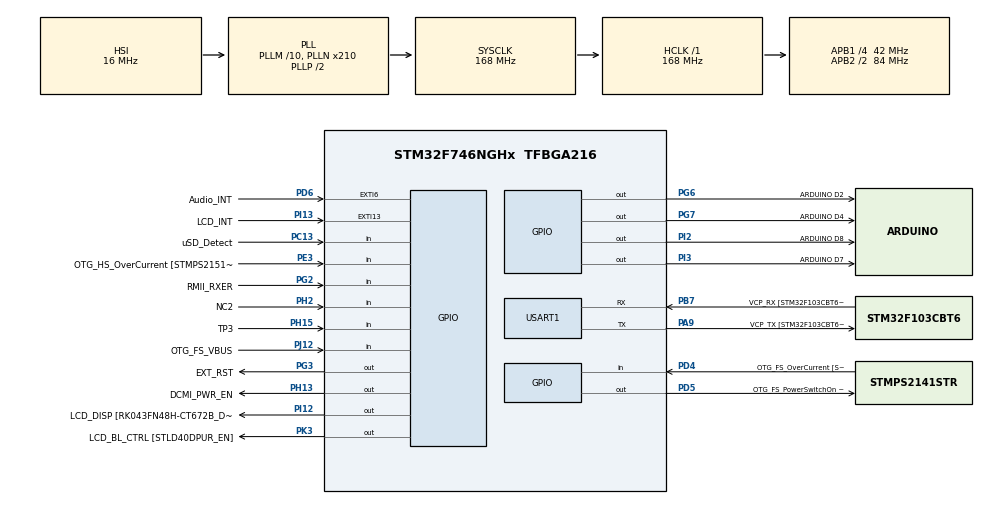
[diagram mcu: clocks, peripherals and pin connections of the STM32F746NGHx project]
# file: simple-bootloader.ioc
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Mcu.Family=STM32F7
Mcu.Name=STM32F746NGHx
Mcu.Package=TFBGA216
NVIC.PriorityGroup=NVIC_PRIORITYGROUP_4
PA0/WKUP.GPIO_Label=ARDUINO A0
PA0/WKUP.GPIO_Mode=GPIO_MODE_ANALOG
PA0/WKUP.GPIO_PuPd=GPIO_NOPULL
PA0/WKUP.Signal=ADCx_IN0
PA1.GPIO_Label=RMII_REF_CLK [LAN8742A-CZ-TR_REFCLK0]
PA1.Signal=ETH_REF_CLK
PA10.GPIO_Label=OTG_FS_ID
PA10.Signal=USB_OTG_FS_ID
PA11.GPIO_Label=OTG_FS_N
PA11.Signal=USB_OTG_FS_DM
PA12.GPIO_Label=OTG_FS_P
PA12.Signal=USB_OTG_FS_DP
PA13.GPIO_Label=SWDIO
PA13.Signal=SYS_JTMS-SWDIO
PA14.GPIO_Label=SWCLK
PA14.Signal=SYS_JTCK-SWCLK
PA15.GPIO_Label=ARDUINO PWM/D9
PA15.GPIO_ModeDefaultPP=GPIO_MODE_AF_PP
PA15.GPIO_PuPd=GPIO_NOPULL
PA15.GPIO_Speed=GPIO_SPEED_FREQ_LOW
PA15.Signal=S_TIM2_CH1_ETR
PA2.GPIO_Label=RMII_MDIO [LAN8742A-CZ-TR_MDIO]
PA2.Signal=ETH_MDIO
PA3.GPIO_Label=ULPI_D0 [USB3320C-EZK_D0]
PA3.Signal=USB_OTG_HS_ULPI_D0
PA4.GPIO_Label=DCMI_HSYNC
PA4.Signal=DCMI_HSYNC
PA5.GPIO_Label=ULPI_CLK [USB3320C-EZK_CLKOUT]
PA5.Signal=USB_OTG_HS_ULPI_CK
PA6.Signal=DCMI_PIXCLK
PA7.GPIO_Label=RMII_CRS_DV [LAN8742A-CZ-TR_CRS_DV]
PA7.Signal=ETH_CRS_DV
PA8.GPIO_Label=ARDUINO PWM/D10
PA8.GPIO_ModeDefaultPP=GPIO_MODE_AF_PP
PA8.GPIO_PuPd=GPIO_NOPULL
PA8.GPIO_Speed=GPIO_SPEED_FREQ_LOW
PA8.Signal=S_TIM1_CH1
PA9.GPIO_Label=VCP_TX [STM32F103CBT6_PA3]
PA9.GPIO_Mode=GPIO_MODE_AF_PP
PA9.GPIO_PuPd=GPIO_NOPULL
PA9.GPIO_Speed=GPIO_SPEED_FREQ_LOW
PA9.Mode=Asynchronous
PA9.Signal=USART1_TX
PB0.GPIO_Label=ULPI_D1 [USB3320C-EZK_D1]
PB0.Signal=USB_OTG_HS_ULPI_D1
PB1.GPIO_Label=ULPI_D2 [USB3320C-EZK_D2]
PB1.Signal=USB_OTG_HS_ULPI_D2
PB10.GPIO_Label=ULPI_D3 [USB3320C-EZK_D3]
PB10.Signal=USB_OTG_HS_ULPI_D3
PB11.GPIO_Label=ULPI_D4 [USB3320C-EZK_D4]
PB11.Signal=USB_OTG_HS_ULPI_D4
PB12.GPIO_Label=ULPI_D5 [USB3320C-EZK_D5]
PB12.Signal=USB_OTG_HS_ULPI_D5
PB13.GPIO_Label=ULPI_D6 [USB3320C-EZK_D6]
PB13.Signal=USB_OTG_HS_ULPI_D6
PB14.GPIO_Label=ARDUINO MISO/D12
PB14.GPIO_Mode=GPIO_MODE_AF_PP
PB14.GPIO_PuPd=GPIO_NOPULL
PB14.GPIO_Speed=GPIO_SPEED_FREQ_LOW
PB14.Signal=SPI2_MISO
PB15.GPIO_Label=ARDUINO MOSI/PWM/D11
PB15.GPIO_Mode=GPIO_MODE_AF_PP
PB15.GPIO_PuPd=GPIO_NOPULL
PB15.GPIO_Speed=GPIO_SPEED_FREQ_LOW
PB15.Signal=SPI2_MOSI
PB2.Signal=QUADSPI_CLK
PB3.GPIO_Label=SWO
PB3.Signal=SYS_JTDO-SWO
PB4.GPIO_Label=ARDUINO PWM/D3
PB4.GPIO_ModeDefaultPP=GPIO_MODE_AF_PP
PB4.GPIO_PuPd=GPIO_NOPULL
PB4.GPIO_Speed=GPIO_SPEED_FREQ_LOW
PB4.Signal=S_TIM3_CH1
PB5.GPIO_Label=ULPI_D7 [USB3320C-EZK_D7]
PB5.Signal=USB_OTG_HS_ULPI_D7
PB6.GPIO_Label=QSPI_NCS [N25Q128A13EF840E_S]
PB6.Signal=QUADSPI_BK1_NCS
PB7.GPIO_Label=VCP_RX [STM32F103CBT6_PA2]
PB7.GPIO_Mode=GPIO_MODE_AF_PP
PB7.GPIO_PuPd=GPIO_NOPULL
PB7.GPIO_Speed=GPIO_SPEED_FREQ_LOW
PB7.Mode=Asynchronous
PB7.Signal=USART1_RX
PB8.GPIO_Label=ARDUINO SCL/D15
PB8.GPIO_Mode=GPIO_MODE_AF_OD
PB8.GPIO_PuPd=GPIO_NOPULL
PB8.GPIO_Speed=GPIO_SPEED_FREQ_LOW
PB8.Signal=I2C1_SCL
PB9.GPIO_Label=ARDUINO SDA/D14
PB9.GPIO_Mode=GPIO_MODE_AF_OD
PB9.GPIO_PuPd=GPIO_NOPULL
PB9.GPIO_Speed=GPIO_SPEED_FREQ_LOW
PB9.Signal=I2C1_SDA
PC0.GPIO_Label=ULPI_STP [USB3320C-EZK_STP]
PC0.Signal=USB_OTG_HS_ULPI_STP
PC1.GPIO_Label=RMII_MDC [LAN8742A-CZ-TR_MDC]
PC1.Signal=ETH_MDC
PC10.GPIO_Label=SDMMC_D2
PC10.Signal=SDMMC1_D2
PC11.GPIO_Label=SDMMC_D3
PC11.Signal=SDMMC1_D3
PC12.GPIO_Label=SDMMC_CK
PC12.Signal=SDMMC1_CK
PC13.GPIO_Label=uSD_Detect
PC13.Signal=GPIO_Input
PC14/OSC32_IN.GPIO_Label=RCC_OSC32_IN
PC14/OSC32_IN.Signal=RCC_OSC32_IN
PC15/OSC32_OUT.GPIO_Label=RCC_OSC32_OUT
PC15/OSC32_OUT.Signal=RCC_OSC32_OUT
PC2.GPIO_Label=ULPI_DIR [USB3320C-EZK_DIR]
PC2.Signal=USB_OTG_HS_ULPI_DIR
PC3.GPIO_Label=FMC_SDCKE0 [MT48LC4M32B2B5-6A_CKE]
PC3.Signal=FMC_SDCKE0
PC4.GPIO_Label=RMII_RXD0 [LAN8742A-CZ-TR_RXD0]
PC4.Signal=ETH_RXD0
PC5.GPIO_Label=RMII_RXD1 [LAN8742A-CZ-TR_RXD1]
PC5.Signal=ETH_RXD1
PC6.GPIO_Label=ARDUINO TX/D1
PC6.Signal=USART6_TX
PC7.GPIO_Label=ARDUINO RX/D0
PC7.Signal=USART6_RX
PC8.Signal=SDMMC1_D0
PC9.Signal=SDMMC1_D1
PD0.GPIO_Label=FMC_D2 [MT48LC4M32B2B5-6A_DQ2]
PD0.Signal=FMC_D2_DA2
PD1.GPIO_Label=FMC_D3 [MT48LC4M32B2B5-6A_DQ3]
PD1.Signal=FMC_D3_DA3
PD10.GPIO_Label=FMC_D15 [MT48LC4M32B2B5-6A_DQ15]
PD10.Signal=FMC_D15_DA15
PD11.GPIO_Label=QSPI_D0 [N25Q128A13EF840E_DQ0]
PD11.Signal=QUADSPI_BK1_IO0
PD12.GPIO_Label=QSPI_D1 [N25Q128A13EF840E_DQ1]
PD12.Signal=QUADSPI_BK1_IO1
PD13.GPIO_Label=QSPI_D3 [N25Q128A13EF840E_DQ3]
PD13.Signal=QUADSPI_BK1_IO3
PD14.GPIO_Label=FMC_D0 [MT48LC4M32B2B5-6A_DQ0]
PD14.Signal=FMC_D0_DA0
PD15.GPIO_Label=FMC_D1 [MT48LC4M32B2B5-6A_DQ1]
PD15.Signal=FMC_D1_DA1
PD2.GPIO_Label=SDMMC_D0
PD2.Signal=SDMMC1_CMD
PD3.GPIO_Label=DCMI_D5
PD3.Signal=DCMI_D5
PD4.GPIO_Label=OTG_FS_OverCurrent [STMPS2141STR_Fault]
PD4.Signal=GPIO_Input
PD5.GPIO_Label=OTG_FS_PowerSwitchOn [STMPS2141STR_EN]
PD5.PinState=GPIO_PIN_SET
PD5.Signal=GPIO_Output
PD6.GPIO_Label=Audio_INT
PD6.GPIO_ModeDefaultEXTI=GPIO_MODE_EVT_RISING
PD6.Signal=GPXTI6
PD7.GPIO_Label=SPDIF_RX0 [74LVC1G04SE_4]
PD7.Signal=SPDIFRX_IN0
PD8.GPIO_Label=FMC_D13 [MT48LC4M32B2B5-6A_DQ13]
PD8.Signal=FMC_D13_DA13
PD9.GPIO_Label=FMC_D14 [MT48LC4M32B2B5-6A_DQ14]
PD9.Signal=FMC_D14_DA14
PE0.GPIO_Label=FMC_NBL0 [MT48LC4M32B2B5-6A_DQM0]
PE0.Signal=FMC_NBL0
PE1.GPIO_Label=FMC_NBL1 [MT48LC4M32B2B5-6A_DQM1]
PE1.Signal=FMC_NBL1
PE10.GPIO_Label=FMC_D7 [MT48LC4M32B2B5-6A_DQ7]
PE10.Signal=FMC_D7_DA7
PE11.GPIO_Label=FMC_D8 [MT48LC4M32B2B5-6A_DQ8]
PE11.Signal=FMC_D8_DA8
PE12.GPIO_Label=FMC_D9 [MT48LC4M32B2B5-6A_DQ9]
PE12.Signal=FMC_D9_DA9
PE13.GPIO_Label=FMC_D10 [MT48LC4M32B2B5-6A_DQ10]
PE13.Signal=FMC_D10_DA10
PE14.GPIO_Label=FMC_D11 [MT48LC4M32B2B5-6A_DQ11]
PE14.Signal=FMC_D11_DA11
PE15.GPIO_Label=FMC_D12 [MT48LC4M32B2B5-6A_DQ12]
PE15.Signal=FMC_D12_DA12
PE2.GPIO_Label=QSPI_D2 [N25Q128A13EF840E_DQ2]
PE2.Signal=QUADSPI_BK1_IO2
PE3.GPIO_Label=OTG_HS_OverCurrent [STMPS2151STR_FAULT]
PE3.Signal=GPIO_Input
PE4.GPIO_Label=LCD_B0 [RK043FN48H-CT672B_B0]
PE4.Signal=LTDC_B0
PE5.GPIO_Label=DCMI_D6
PE5.Signal=DCMI_D6
PE6.GPIO_Label=DCMI_D7
PE6.Signal=DCMI_D7
PE7.GPIO_Label=FMC_D4 [MT48LC4M32B2B5-6A_DQ4]
PE7.Signal=FMC_D4_DA4
PE8.GPIO_Label=FMC_D5 [MT48LC4M32B2B5-6A_DQ5]
PE8.Signal=FMC_D5_DA5
PE9.GPIO_Label=FMC_D6 [MT48LC4M32B2B5-6A_DQ6]
PE9.Signal=FMC_D6_DA6
PF0.GPIO_Label=FMC_A0 [MT48LC4M32B2B5-6A_A0]
PF0.Signal=FMC_A0
PF1.GPIO_Label=FMC_A1 [MT48LC4M32B2B5-6A_A1]
PF1.Signal=FMC_A1
PF10.GPIO_Label=ARDUINO A1
PF10.GPIO_Mode=GPIO_MODE_ANALOG
PF10.GPIO_PuPd=GPIO_NOPULL
PF10.Signal=ADC3_IN8
PF11.GPIO_Label=FMC_SDNRAS [MT48LC4M32B2B5-6A_RAS]
PF11.Signal=FMC_SDNRAS
PF12.GPIO_Label=FMC_A6 [MT48LC4M32B2B5-6A_A6]
PF12.Signal=FMC_A6
PF13.GPIO_Label=FMC_A7 [MT48LC4M32B2B5-6A_A7]
PF13.Signal=FMC_A7
PF14.GPIO_Label=FMC_A8 [MT48LC4M32B2B5-6A_A8]
PF14.Signal=FMC_A8
PF15.GPIO_Label=FMC_A9 [MT48LC4M32B2B5-6A_A9]
PF15.Signal=FMC_A9
PF2.GPIO_Label=FMC_A2 [MT48LC4M32B2B5-6A_A2]
PF2.Signal=FMC_A2
PF3.GPIO_Label=FMC_A3 [MT48LC4M32B2B5-6A_A3]
PF3.Signal=FMC_A3
PF4.GPIO_Label=FMC_A4 [MT48LC4M32B2B5-6A_A4]
PF4.Signal=FMC_A4
PF5.GPIO_Label=FMC_A5 [MT48LC4M32B2B5-6A_A5]
PF5.Signal=FMC_A5
PF6.GPIO_Label=ARDUINO A5
PF6.GPIO_Mode=GPIO_MODE_ANALOG
PF6.GPIO_PuPd=GPIO_NOPULL
PF6.Signal=ADC3_IN4
PF7.GPIO_Label=ARDUINO A4
PF7.GPIO_Mode=GPIO_MODE_ANALOG
PF7.GPIO_PuPd=GPIO_NOPULL
PF7.Signal=ADC3_IN5
PF8.GPIO_Label=ARDUINO A3
PF8.GPIO_Mode=GPIO_MODE_ANALOG
PF8.GPIO_PuPd=GPIO_NOPULL
PF8.Signal=ADC3_IN6
PF9.GPIO_Label=ARDUINO A2
PF9.GPIO_Mode=GPIO_MODE_ANALOG
PF9.GPIO_PuPd=GPIO_NOPULL
PF9.Signal=ADC3_IN7
PG0.GPIO_Label=FMC_A10 [MT48LC4M32B2B5-6A_A10]
PG0.Signal=FMC_A10
PG1.GPIO_Label=FMC_A11 [MT48LC4M32B2B5-6A_A11]
PG1.Signal=FMC_A11
PG10.GPIO_Label=SAI2_SDB [WM8994ECS/R_ADCDAT1]
PG10.Signal=SAI2_SD_B
PG11.GPIO_Label=RMII_TX_EN [LAN8742A-CZ-TR_TXEN]
PG11.Signal=ETH_TX_EN
PG12.GPIO_Label=LCD_B4 [RK043FN48H-CT672B_B4]
PG12.Signal=LTDC_B4
PG13.GPIO_Label=RMII_TXD0 [LAN8742A-CZ-TR_TXD0]
PG13.Signal=ETH_TXD0
PG14.GPIO_Label=RMII_TXD1 [LAN8742A-CZ-TR_TXD1]
PG14.Signal=ETH_TXD1
PG15.GPIO_Label=FMC_SDNCAS [MT48LC4M32B2B5-6A_CAS]
PG15.Signal=FMC_SDNCAS
PG2.GPIO_Label=RMII_RXER
PG2.Signal=GPIO_Input
PG3.GPIO_Label=EXT_RST
PG3.Signal=GPIO_Output
PG4.GPIO_Label=FMC_BA0 [MT48LC4M32B2B5-6A_BA0]
PG4.Signal=FMC_A14_BA0
PG5.GPIO_Label=FMC_BA1 [MT48LC4M32B2B5-6A_BA1]
PG5.Signal=FMC_A15_BA1
PG6.GPIO_Label=ARDUINO D2
PG6.Signal=GPIO_Output
PG7.GPIO_Label=ARDUINO D4
PG7.Signal=GPIO_Output
PG8.GPIO_Label=FMC_SDCLK [MT48LC4M32B2B5-6A_CLK]
PG8.Signal=FMC_SDCLK
PG9.GPIO_Label=DCMI_VSYNC
PG9.Signal=DCMI_VSYNC
PH0/OSC_IN.GPIO_Label=OSC_25M [NZ2520SB-25.00M_OUT]
PH0/OSC_IN.Signal=RCC_OSC_IN
PH1/OSC_OUT.Signal=RCC_OSC_OUT
PH10.GPIO_Label=DCMI_D1
PH10.Signal=DCMI_D1
PH11.GPIO_Label=DCMI_D2
PH11.Signal=DCMI_D2
PH12.GPIO_Label=DCMI_D3
PH12.Signal=DCMI_D3
PH13.GPIO_Label=DCMI_PWR_EN
PH13.Signal=GPIO_Output
PH14.GPIO_Label=DCMI_D4
PH14.Signal=DCMI_D4
PH15.GPIO_Label=TP3
PH15.Signal=GPIO_Input
PH2.GPIO_Label=NC2
PH2.Signal=GPIO_Input
PH3.GPIO_Label=FMC_SDNE0 [MT48LC4M32B2B5-6A_CS]
PH3.Signal=FMC_SDNE0
PH4.GPIO_Label=ULPI_NXT [USB3320C-EZK_NXT]
PH4.Signal=USB_OTG_HS_ULPI_NXT
PH5.GPIO_Label=FMC_SDNME [MT48LC4M32B2B5-6A_WE]
PH5.Signal=FMC_SDNWE
PH6.GPIO_Label=ARDUINO PWM/D6
PH6.Signal=S_TIM12_CH1
PH7.GPIO_Label=LCD_SCL [RK043FN48H-CT672B_SCL]
PH7.Signal=I2C3_SCL
PH8.GPIO_Label=LCD_SDA [RK043FN48H-CT672B_SDA]
PH8.Signal=I2C3_SDA
PH9.GPIO_Label=DCMI_D0
PH9.Signal=DCMI_D0
PI0.GPIO_Label=ARDUINO PWM/CS/D5
PI0.GPIO_ModeDefaultPP=GPIO_MODE_AF_PP
PI0.GPIO_PuPd=GPIO_NOPULL
PI0.GPIO_Speed=GPIO_SPEED_FREQ_LOW
PI0.Signal=S_TIM5_CH4
PI1.GPIO_Label=ARDUINO SCK/D13
PI1.GPIO_Mode=GPIO_MODE_AF_PP
PI1.GPIO_PuPd=GPIO_NOPULL
PI1.GPIO_Speed=GPIO_SPEED_FREQ_LOW
PI1.Signal=SPI2_SCK
PI10.GPIO_Label=LCD_HSYNC [RK043FN48H-CT672B_HSYNC]
PI10.Signal=LTDC_HSYNC
PI12.GPIO_Label=LCD_DISP [RK043FN48H-CT672B_DISP] 
PI12.Signal=GPIO_Output
PI13.GPIO_Label=LCD_INT
PI13.GPIO_ModeDefaultEXTI=GPIO_MODE_EVT_RISING
PI13.Signal=GPXTI13
PI14.GPIO_Label=LCD_CLK [RK043FN48H-CT672B_CLK]
PI14.Signal=LTDC_CLK
PI15.GPIO_Label=LCD_R0 [RK043FN48H-CT672B_R0]
PI15.Signal=LTDC_R0
PI2.GPIO_Label=ARDUINO D8
PI2.Signal=GPIO_Output
PI3.GPIO_Label=ARDUINO D7
PI3.Signal=GPIO_Output
PI4.GPIO_Label=SAI2_MCLKA [WM8994ECS/R_MCLK1]
PI4.Signal=SAI2_MCLK_A
PI5.GPIO_Label=SAI2_SCKA [WM8994ECS/R_BCLK1]
PI5.Signal=SAI2_SCK_A
PI6.GPIO_Label=SAI2_SDA [WM8994ECS/R_DACDAT1]
PI6.Signal=SAI2_SD_A
PI7.GPIO_Label=SAI2_FSA [WM8994ECS/R_LRCLK1]
PI7.Signal=SAI2_FS_A
PI8.GPIO_Label=NC1 [TP2]
PI8.Signal=RTC_TS
PI9.GPIO_Label=LCD_VSYNC [RK043FN48H-CT672B_VSYNC]
PI9.Signal=LTDC_VSYNC
PJ0.GPIO_Label=LCD_R1 [RK043FN48H-CT672B_R1]
PJ0.Signal=LTDC_R1
PJ1.GPIO_Label=LCD_R2 [RK043FN48H-CT672B_R2]
PJ1.Signal=LTDC_R2
PJ10.GPIO_Label=LCD_G3 [RK043FN48H-CT672B_G3]
PJ10.Signal=LTDC_G3
PJ11.GPIO_Label=LCD_G4 [RK043FN48H-CT672B_G4]
PJ11.Signal=LTDC_G4
PJ12.GPIO_Label=OTG_FS_VBUS
PJ12.Signal=GPIO_Input
PJ13.GPIO_Label=LCD_B1 [RK043FN48H-CT672B_B1]
PJ13.Signal=LTDC_B1
PJ14.GPIO_Label=LCD_B2 [RK043FN48H-CT672B_B2]
PJ14.Signal=LTDC_B2
PJ15.GPIO_Label=LCD_B3 [RK043FN48H-CT672B_B3]
PJ15.Signal=LTDC_B3
PJ2.GPIO_Label=LCD_R3 [RK043FN48H-CT672B_R3]
PJ2.Signal=LTDC_R3
PJ3.GPIO_Label=LCD_R4 [RK043FN48H-CT672B_R4]
PJ3.Signal=LTDC_R4
PJ4.GPIO_Label=LCD_R5 [RK043FN48H-CT672B_R5]
PJ4.Signal=LTDC_R5
PJ5.GPIO_Label=LCD_R6 [RK043FN48H-CT672B_R6]
PJ5.Signal=LTDC_R6
PJ6.GPIO_Label=LCD_R7 [RK043FN48H-CT672B_R7]
PJ6.Signal=LTDC_R7
PJ7.GPIO_Label=LCD_G0 [RK043FN48H-CT672B_G0]
PJ7.Signal=LTDC_G0
PJ8.GPIO_Label=LCD_G1 [RK043FN48H-CT672B_G1]
PJ8.Signal=LTDC_G1
PJ9.GPIO_Label=LCD_G2 [RK043FN48H-CT672B_G2]
PJ9.Signal=LTDC_G2
PK0.GPIO_Label=LCD_G5 [RK043FN48H-CT672B_G5]
PK0.Signal=LTDC_G5
PK1.GPIO_Label=LCD_G6 [RK043FN48H-CT672B_G6]
PK1.Signal=LTDC_G6
PK2.GPIO_Label=LCD_G7 [RK043FN48H-CT672B_G7]
PK2.Signal=LTDC_G7
PK3.GPIO_Label=LCD_BL_CTRL [STLD40DPUR_EN]
PK3.Signal=GPIO_Output
PK4.GPIO_Label=LCD_B5 [RK043FN48H-CT672B_B5]
PK4.Signal=LTDC_B5
PK5.GPIO_Label=LCD_B6 [RK043FN48H-CT672B_B6]
PK5.Signal=LTDC_B6
PK6.GPIO_Label=LCD_B7 [RK043FN48H-CT672B_B7]
PK6.Signal=LTDC_B7
PK7.GPIO_Label=LCD_DE [RK043FN48H-CT672B_DE]
PK7.Signal=LTDC_DE
ProjectManager.HeapSize=0x200
ProjectManager.StackSize=0x400
ProjectManager.TargetToolchain=STM32CubeIDE
RCC.AHBFreq_Value=168000000
RCC.APB1CLKDivider=RCC_HCLK_DIV4
RCC.APB1Freq_Value=42000000
RCC.APB1TimFreq_Value=84000000
RCC.APB2CLKDivider=RCC_HCLK_DIV2
RCC.APB2Freq_Value=84000000
RCC.APB2TimFreq_Value=168000000
RCC.CortexFreq_Value=168000000
RCC.HCLKFreq_Value=168000000
RCC.HSE_VALUE=25000000
RCC.HSI_VALUE=16000000
RCC.LSE_VALUE=32768
RCC.PLLM=10
RCC.PLLN=210
RCC.PLLSourceVirtual=RCC_PLLSOURCE_HSI
RCC.SYSCLKFreq_VALUE=168000000
RCC.SYSCLKSource=RCC_SYSCLKSOURCE_PLLCLK
RCC.USBFreq_Value=168000000
RCC.VCOOutputFreq_Value=336000000
SH.ADCx_IN0.0=ADC3_IN0
SH.FMC_A0.0=FMC_A0
SH.FMC_A1.0=FMC_A1
SH.FMC_A10.0=FMC_A10
SH.FMC_A11.0=FMC_A11
SH.FMC_A14_BA0.0=FMC_BA0
SH.FMC_A15_BA1.0=FMC_BA1
SH.FMC_A2.0=FMC_A2
SH.FMC_A3.0=FMC_A3
SH.FMC_A4.0=FMC_A4
SH.FMC_A5.0=FMC_A5
SH.FMC_A6.0=FMC_A6
SH.FMC_A7.0=FMC_A7
SH.FMC_A8.0=FMC_A8
SH.FMC_A9.0=FMC_A9
SH.FMC_D0_DA0.0=FMC_D0
SH.FMC_D10_DA10.0=FMC_D10
SH.FMC_D11_DA11.0=FMC_D11
SH.FMC_D12_DA12.0=FMC_D12
SH.FMC_D13_DA13.0=FMC_D13
SH.FMC_D14_DA14.0=FMC_D14
SH.FMC_D15_DA15.0=FMC_D15
SH.FMC_D1_DA1.0=FMC_D1
SH.FMC_D2_DA2.0=FMC_D2
SH.FMC_D3_DA3.0=FMC_D3
SH.FMC_D4_DA4.0=FMC_D4
SH.FMC_D5_DA5.0=FMC_D5
SH.FMC_D6_DA6.0=FMC_D6
SH.FMC_D7_DA7.0=FMC_D7
SH.FMC_D8_DA8.0=FMC_D8
SH.FMC_D9_DA9.0=FMC_D9
SH.FMC_NBL0.0=FMC_NBL0
SH.FMC_NBL1.0=FMC_NBL1
SH.FMC_SDCLK.0=FMC_SDCLK
SH.FMC_SDNCAS.0=FMC_SDNCAS
SH.FMC_SDNRAS.0=FMC_SDNRAS
SH.FMC_SDNWE.0=FMC_SDNWE
SH.S_TIM12_CH1.0=TIM12_CH1
SH.S_TIM1_CH1.0=TIM1_CH1
SH.S_TIM2_CH1_ETR.0=TIM2_CH1
SH.S_TIM3_CH1.0=TIM3_CH1
SH.S_TIM5_CH4.0=TIM5_CH4
USART1.VirtualMode-Asynchronous=VM_ASYNC
board=STM32F746G-DISCO

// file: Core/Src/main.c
/* USER CODE BEGIN Header */
/**
  ******************************************************************************
  * @file           : main.c
  * @brief          : Main program body
  ******************************************************************************
  * @attention
  *
  * Copyright (c) 2024 STMicroelectronics.
  * All rights reserved.
  *
  * This software is licensed under terms that can be found in the LICENSE file
  * in the root directory of this software component.
  * If no LICENSE file comes with this software, it is provided AS-IS.
  *
  ******************************************************************************
  */
/* USER CODE END Header */
#include "main.h"

/* USER CODE BEGIN Includes */
#include <stdio.h>
#include "staticlib.h"
/* USER CODE END Includes */

/* USER CODE BEGIN PTD */
#if IAP_DEMO
typedef void (*pFunction)(void);
#endif
/* USER CODE END PTD */

/* USER CODE BEGIN PD */
#if IAP_DEMO
#define FLASH_APP_ADDR 0x08008000
#endif
/* USER CODE END PD */

/* USER CODE BEGIN PM */
typedef void (*ptrF)(uint32_t dlyticks);

struct BootloaderSharedAPI
{
	void(*Blink)(uint32_t dlyticks);
	void(*TrunOn)(void);
	void(*TurnOff)(void);
};
/* USER CODE END PM */

UART_HandleTypeDef huart1;

/* USER CODE BEGIN PV */
unsigned char __attribute__((section(".my_buf_section_ram"))) buf_ram[128];
unsigned char __attribute__((section(".my_buf_section_flash"))) buf_flash[10] = {
  0, 1, 2, 3, 4, 5, 6, 7, 8, 9
};
#define LOCATE_FUNC __attribute__((__section__(".mysection")))

uint8_t tx_buffer[14] = "RojarSmith\n\r";
/* USER CODE END PV */

void SystemClock_Config(void);
static void MX_GPIO_Init(void);
static void MX_USART1_UART_Init(void);
/* USER CODE BEGIN PFP */
void LOCATE_FUNC Blink(uint32_t dlyticks);
void LOCATE_FUNC TurnOn(void);
void LOCATE_FUNC TurnOff(void);
#if IAP_DEMO
void go2APP(void);
#endif
/* USER CODE END PFP */

/* USER CODE BEGIN 0 */
void LOCATE_FUNC Blink(uint32_t dlyticks)
{
	HAL_GPIO_TogglePin(GPIOI, GPIO_PIN_1);
	HAL_Delay(dlyticks);
}

static ptrF Functions[] =
{
    Blink
};

void LOCATE_FUNC TurnOn(void)
{
	HAL_GPIO_WritePin(GPIOI, GPIO_PIN_1, GPIO_PIN_SET);
}

void LOCATE_FUNC TurnOff(void)
{
	HAL_GPIO_WritePin(GPIOI, GPIO_PIN_1, GPIO_PIN_RESET);
}

struct BootloaderSharedAPI api __attribute__((section(".API_SHARED"))) =
{
    Blink,
	TurnOn,
	TurnOff
};

void __attribute__((__section__(".RamFunc"))) TurnOnLED(GPIO_PinState PinState)
{
    if(PinState != GPIO_PIN_RESET)
    {
    	GPIOI->BSRR = (uint32_t)GPIO_PIN_1;
    }
    else
    {
        GPIOI->BSRR = (uint32_t)GPIO_PIN_1 << 16U;
    }
}

// printf to uart //
//#ifdef __GNUC__
//#define PUTCHAR_PROTOTYPE int __io_putchar(int ch)
//#else
//#define PUTCHAR_PROTOTYPE int fputc(int ch, FILE *f)
//#endif
//
//PUTCHAR_PROTOTYPE
//{
//    HAL_UART_Transmit(&huart1, (uint8_t *)&ch, 1, HAL_MAX_DELAY);
//    return ch;
//}

#if IAP_DEMO
void go2APP(void)
{
	uint32_t jumpAddress;
	pFunction jumpToApplication;

	printf("BOOTLOADER Start\r\n");

	// Check
	if (((*(__IO uint32_t*) FLASH_APP_ADDR) & 0x2FFAB000) == 0x20000000)
	{
		printf("APP Start...\r\n");
		HAL_Delay(100);
		// Jump to user application //
		jumpAddress = *(__IO uint32_t*)(FLASH_APP_ADDR + 4);
		jumpToApplication = (pFunction)jumpAddress;
		// Initialize user application's Stack Pointer //
		__set_MSP(*(__IO uint32_t*)FLASH_APP_ADDR);
		jumpToApplication();
	}
	else
	{
		printf("No APP found!!!\r\n");
	}
}
#endif

// printf to uart //
int _write(int file, char *ptr, int len)
{
	int DataIdx;

	for(DataIdx = 0; DataIdx < len; DataIdx++)
	{
		HAL_UART_Transmit(&huart1, (uint8_t*)ptr++, 1, 100);
	}
}
/* USER CODE END 0 */

int main(void)
{

  /* MCU Configuration--------------------------------------------------------*/

  /* Reset of all peripherals, Initializes the Flash interface and the Systick. */
  HAL_Init();

  /* Configure the system clock */
  SystemClock_Config();

  /* Initialize all configured peripherals */
  MX_GPIO_Init();
  MX_USART1_UART_Init();
  /* USER CODE BEGIN 2 */
#if IAP_DEMO
    printf("IAP Demo Boot\r\n");
#endif
    int sum = add(1, 2);
    printf("%d \r\n", sum);
  /* USER CODE END 2 */

  /* Infinite loop */
  /* USER CODE BEGIN WHILE */
//  GPIO_PinState state = GPIO_PIN_RESET;

  while (1)
  {
    /* USER CODE END WHILE */

    /* USER CODE BEGIN 3 */
#ifdef EXAMPLE_1
	Blink(100);
#endif

#ifdef EXAMPLE_2
	state = !state;
	TurnOnLED(state);
#endif

#ifdef EXAMPLE_3
	(*Functions[0])(100);
#endif

#ifdef EXAMPLE_4
	int tx_length = sizeof(tx_buffer) / sizeof(tx_buffer[0]);
    HAL_UART_Transmit(&huart1, tx_buffer, tx_length, 10);
	HAL_Delay(1000);
#endif

#if IAP_DEMO
	go2APP();
#endif
  }
  /* USER CODE END 3 */
}

void SystemClock_Config(void)
{
  RCC_OscInitTypeDef RCC_OscInitStruct = {0};
  RCC_ClkInitTypeDef RCC_ClkInitStruct = {0};

  /** Configure the main internal regulator output voltage
  */
  __HAL_RCC_PWR_CLK_ENABLE();
  __HAL_PWR_VOLTAGESCALING_CONFIG(PWR_REGULATOR_VOLTAGE_SCALE2);

  /** Initializes the RCC Oscillators according to the specified parameters
  * in the RCC_OscInitTypeDef structure.
  */
  RCC_OscInitStruct.OscillatorType = RCC_OSCILLATORTYPE_HSI;
  RCC_OscInitStruct.HSIState = RCC_HSI_ON;
  RCC_OscInitStruct.HSICalibrationValue = RCC_HSICALIBRATION_DEFAULT;
  RCC_OscInitStruct.PLL.PLLState = RCC_PLL_ON;
  RCC_OscInitStruct.PLL.PLLSource = RCC_PLLSOURCE_HSI;
  RCC_OscInitStruct.PLL.PLLM = 10;
  RCC_OscInitStruct.PLL.PLLN = 210;
  RCC_OscInitStruct.PLL.PLLP = RCC_PLLP_DIV2;
  RCC_OscInitStruct.PLL.PLLQ = 2;
  if (HAL_RCC_OscConfig(&RCC_OscInitStruct) != HAL_OK)
  {
    Error_Handler();
  }

  /** Initializes the CPU, AHB and APB buses clocks
  */
  RCC_ClkInitStruct.ClockType = RCC_CLOCKTYPE_HCLK|RCC_CLOCKTYPE_SYSCLK
                              |RCC_CLOCKTYPE_PCLK1|RCC_CLOCKTYPE_PCLK2;
  RCC_ClkInitStruct.SYSCLKSource = RCC_SYSCLKSOURCE_PLLCLK;
  RCC_ClkInitStruct.AHBCLKDivider = RCC_SYSCLK_DIV1;
  RCC_ClkInitStruct.APB1CLKDivider = RCC_HCLK_DIV4;
  RCC_ClkInitStruct.APB2CLKDivider = RCC_HCLK_DIV2;

  if (HAL_RCC_ClockConfig(&RCC_ClkInitStruct, FLASH_LATENCY_5) != HAL_OK)
  {
    Error_Handler();
  }
}

static void MX_USART1_UART_Init(void)
{

  huart1.Instance = USART1;
  huart1.Init.BaudRate = 115200;
  huart1.Init.WordLength = UART_WORDLENGTH_8B;
  huart1.Init.StopBits = UART_STOPBITS_1;
  huart1.Init.Parity = UART_PARITY_NONE;
  huart1.Init.Mode = UART_MODE_TX_RX;
  huart1.Init.HwFlowCtl = UART_HWCONTROL_NONE;
  huart1.Init.OverSampling = UART_OVERSAMPLING_16;
  huart1.Init.OneBitSampling = UART_ONE_BIT_SAMPLE_DISABLE;
  huart1.AdvancedInit.AdvFeatureInit = UART_ADVFEATURE_NO_INIT;
  if (HAL_UART_Init(&huart1) != HAL_OK)
  {
    Error_Handler();
  }

}

static void MX_GPIO_Init(void)
{
  GPIO_InitTypeDef GPIO_InitStruct = {0};

  /* GPIO Ports Clock Enable */
  __HAL_RCC_GPIOE_CLK_ENABLE();
  __HAL_RCC_GPIOG_CLK_ENABLE();
  __HAL_RCC_GPIOB_CLK_ENABLE();
  __HAL_RCC_GPIOD_CLK_ENABLE();
  __HAL_RCC_GPIOC_CLK_ENABLE();
  __HAL_RCC_GPIOA_CLK_ENABLE();
  __HAL_RCC_GPIOJ_CLK_ENABLE();
  __HAL_RCC_GPIOI_CLK_ENABLE();
  __HAL_RCC_GPIOK_CLK_ENABLE();
  __HAL_RCC_GPIOF_CLK_ENABLE();
  __HAL_RCC_GPIOH_CLK_ENABLE();

  /*Configure GPIO pin Output Level */
  HAL_GPIO_WritePin(OTG_FS_PowerSwitchOn_GPIO_Port, OTG_FS_PowerSwitchOn_Pin, GPIO_PIN_SET);

  /*Configure GPIO pin Output Level */
  HAL_GPIO_WritePin(GPIOI, ARDUINO_D7_Pin|ARDUINO_D8_Pin|GPIO_PIN_1|LCD_DISP_Pin, GPIO_PIN_RESET);

  /*Configure GPIO pin Output Level */
  HAL_GPIO_WritePin(LCD_BL_CTRL_GPIO_Port, LCD_BL_CTRL_Pin, GPIO_PIN_RESET);

  /*Configure GPIO pin Output Level */
  HAL_GPIO_WritePin(DCMI_PWR_EN_GPIO_Port, DCMI_PWR_EN_Pin, GPIO_PIN_RESET);

  /*Configure GPIO pin Output Level */
  HAL_GPIO_WritePin(GPIOG, ARDUINO_D4_Pin|ARDUINO_D2_Pin|EXT_RST_Pin, GPIO_PIN_RESET);

  /*Configure GPIO pin : LCD_B0_Pin */
  GPIO_InitStruct.Pin = LCD_B0_Pin;
  GPIO_InitStruct.Mode = GPIO_MODE_AF_PP;
  GPIO_InitStruct.Pull = GPIO_NOPULL;
  GPIO_InitStruct.Speed = GPIO_SPEED_FREQ_LOW;
  GPIO_InitStruct.Alternate = GPIO_AF14_LTDC;
  HAL_GPIO_Init(LCD_B0_GPIO_Port, &GPIO_InitStruct);

  /*Configure GPIO pin : OTG_HS_OverCurrent_Pin */
  GPIO_InitStruct.Pin = OTG_HS_OverCurrent_Pin;
  GPIO_InitStruct.Mode = GPIO_MODE_INPUT;
  GPIO_InitStruct.Pull = GPIO_NOPULL;
  HAL_GPIO_Init(OTG_HS_OverCurrent_GPIO_Port, &GPIO_InitStruct);

  /*Configure GPIO pin : QSPI_D2_Pin */
  GPIO_InitStruct.Pin = QSPI_D2_Pin;
  GPIO_InitStruct.Mode = GPIO_MODE_AF_PP;
  GPIO_InitStruct.Pull = GPIO_NOPULL;
  GPIO_InitStruct.Speed = GPIO_SPEED_FREQ_VERY_HIGH;
  GPIO_InitStruct.Alternate = GPIO_AF9_QUADSPI;
  HAL_GPIO_Init(QSPI_D2_GPIO_Port, &GPIO_InitStruct);

  /*Configure GPIO pins : RMII_TXD1_Pin RMII_TXD0_Pin RMII_TX_EN_Pin */
  GPIO_InitStruct.Pin = RMII_TXD1_Pin|RMII_TXD0_Pin|RMII_TX_EN_Pin;
  GPIO_InitStruct.Mode = GPIO_MODE_AF_PP;
  GPIO_InitStruct.Pull = GPIO_NOPULL;
  GPIO_InitStruct.Speed = GPIO_SPEED_FREQ_VERY_HIGH;
  GPIO_InitStruct.Alternate = GPIO_AF11_ETH;
  HAL_GPIO_Init(GPIOG, &GPIO_InitStruct);

  /*Configure GPIO pins : FMC_NBL1_Pin FMC_NBL0_Pin FMC_D5_Pin FMC_D6_Pin
                           FMC_D8_Pin FMC_D11_Pin FMC_D4_Pin FMC_D7_Pin
                           FMC_D9_Pin FMC_D12_Pin FMC_D10_Pin */
  GPIO_InitStruct.Pin = FMC_NBL1_Pin|FMC_NBL0_Pin|FMC_D5_Pin|FMC_D6_Pin
                          |FMC_D8_Pin|FMC_D11_Pin|FMC_D4_Pin|FMC_D7_Pin
                          |FMC_D9_Pin|FMC_D12_Pin|FMC_D10_Pin;
  GPIO_InitStruct.Mode = GPIO_MODE_AF_PP;
  GPIO_InitStruct.Pull = GPIO_NOPULL;
  GPIO_InitStruct.Speed = GPIO_SPEED_FREQ_VERY_HIGH;
  GPIO_InitStruct.Alternate = GPIO_AF12_FMC;
  HAL_GPIO_Init(GPIOE, &GPIO_InitStruct);

  /*Configure GPIO pins : ARDUINO_SCL_D15_Pin ARDUINO_SDA_D14_Pin */
  GPIO_InitStruct.Pin = ARDUINO_SCL_D15_Pin|ARDUINO_SDA_D14_Pin;
  GPIO_InitStruct.Mode = GPIO_MODE_AF_OD;
  GPIO_InitStruct.Pull = GPIO_NOPULL;
  GPIO_InitStruct.Speed = GPIO_SPEED_FREQ_LOW;
  GPIO_InitStruct.Alternate = GPIO_AF4_I2C1;
  HAL_GPIO_Init(GPIOB, &GPIO_InitStruct);

  /*Configure GPIO pins : ULPI_D7_Pin ULPI_D6_Pin ULPI_D5_Pin ULPI_D3_Pin
                           ULPI_D2_Pin ULPI_D1_Pin ULPI_D4_Pin */
  GPIO_InitStruct.Pin = ULPI_D7_Pin|ULPI_D6_Pin|ULPI_D5_Pin|ULPI_D3_Pin
                          |ULPI_D2_Pin|ULPI_D1_Pin|ULPI_D4_Pin;
  GPIO_InitStruct.Mode = GPIO_MODE_AF_PP;
  GPIO_InitStruct.Pull = GPIO_NOPULL;
  GPIO_InitStruct.Speed = GPIO_SPEED_FREQ_VERY_HIGH;
  GPIO_InitStruct.Alternate = GPIO_AF10_OTG_HS;
  HAL_GPIO_Init(GPIOB, &GPIO_InitStruct);

  /*Configure GPIO pin : ARDUINO_PWM_D3_Pin */
  GPIO_InitStruct.Pin = ARDUINO_PWM_D3_Pin;
  GPIO_InitStruct.Mode = GPIO_MODE_AF_PP;
  GPIO_InitStruct.Pull = GPIO_NOPULL;
  GPIO_InitStruct.Speed = GPIO_SPEED_FREQ_LOW;
  GPIO_InitStruct.Alternate = GPIO_AF2_TIM3;
  HAL_GPIO_Init(ARDUINO_PWM_D3_GPIO_Port, &GPIO_InitStruct);

  /*Configure GPIO pin : SPDIF_RX0_Pin */
  GPIO_InitStruct.Pin = SPDIF_RX0_Pin;
  GPIO_InitStruct.Mode = GPIO_MODE_AF_PP;
  GPIO_InitStruct.Pull = GPIO_NOPULL;
  GPIO_InitStruct.Speed = GPIO_SPEED_FREQ_LOW;
  GPIO_InitStruct.Alternate = GPIO_AF8_SPDIFRX;
  HAL_GPIO_Init(SPDIF_RX0_GPIO_Port, &GPIO_InitStruct);

  /*Configure GPIO pins : SDMMC_CK_Pin SDMMC_D3_Pin SDMMC_D2_Pin PC9
                           PC8 */
  GPIO_InitStruct.Pin = SDMMC_CK_Pin|SDMMC_D3_Pin|SDMMC_D2_Pin|GPIO_PIN_9
                          |GPIO_PIN_8;
  GPIO_InitStruct.Mode = GPIO_MODE_AF_PP;
  GPIO_InitStruct.Pull = GPIO_NOPULL;
  GPIO_InitStruct.Speed = GPIO_SPEED_FREQ_VERY_HIGH;
  GPIO_InitStruct.Alternate = GPIO_AF12_SDMMC1;
  HAL_GPIO_Init(GPIOC, &GPIO_InitStruct);

  /*Configure GPIO pin : ARDUINO_PWM_D9_Pin */
  GPIO_InitStruct.Pin = ARDUINO_PWM_D9_Pin;
  GPIO_InitStruct.Mode = GPIO_MODE_AF_PP;
  GPIO_InitStruct.Pull = GPIO_NOPULL;
  GPIO_InitStruct.Speed = GPIO_SPEED_FREQ_LOW;
  GPIO_InitStruct.Alternate = GPIO_AF1_TIM2;
  HAL_GPIO_Init(ARDUINO_PWM_D9_GPIO_Port, &GPIO_InitStruct);

  /*Configure GPIO pins : DCMI_D6_Pin DCMI_D7_Pin */
  GPIO_InitStruct.Pin = DCMI_D6_Pin|DCMI_D7_Pin;
  GPIO_InitStruct.Mode = GPIO_MODE_AF_PP;
  GPIO_InitStruct.Pull = GPIO_NOPULL;
  GPIO_InitStruct.Speed = GPIO_SPEED_FREQ_LOW;
  GPIO_InitStruct.Alternate = GPIO_AF13_DCMI;
  HAL_GPIO_Init(GPIOE, &GPIO_InitStruct);

  /*Configure GPIO pin : QSPI_NCS_Pin */
  GPIO_InitStruct.Pin = QSPI_NCS_Pin;
  GPIO_InitStruct.Mode = GPIO_MODE_AF_PP;
  GPIO_InitStruct.Pull = GPIO_NOPULL;
  GPIO_InitStruct.Speed = GPIO_SPEED_FREQ_VERY_HIGH;
  GPIO_InitStruct.Alternate = GPIO_AF10_QUADSPI;
  HAL_GPIO_Init(QSPI_NCS_GPIO_Port, &GPIO_InitStruct);

  /*Configure GPIO pins : FMC_SDNCAS_Pin FMC_SDCLK_Pin FMC_A11_Pin FMC_A10_Pin
                           FMC_BA1_Pin FMC_BA0_Pin */
  GPIO_InitStruct.Pin = FMC_SDNCAS_Pin|FMC_SDCLK_Pin|FMC_A11_Pin|FMC_A10_Pin
                          |FMC_BA1_Pin|FMC_BA0_Pin;
  GPIO_InitStruct.Mode = GPIO_MODE_AF_PP;
  GPIO_InitStruct.Pull = GPIO_NOPULL;
  GPIO_InitStruct.Speed = GPIO_SPEED_FREQ_VERY_HIGH;
  GPIO_InitStruct.Alternate = GPIO_AF12_FMC;
  HAL_GPIO_Init(GPIOG, &GPIO_InitStruct);

  /*Configure GPIO pins : LCD_B1_Pin LCD_B2_Pin LCD_B3_Pin LCD_G4_Pin
                           LCD_G1_Pin LCD_G3_Pin LCD_G0_Pin LCD_G2_Pin
                           LCD_R7_Pin LCD_R5_Pin LCD_R6_Pin LCD_R4_Pin
                           LCD_R3_Pin LCD_R1_Pin LCD_R2_Pin */
  GPIO_InitStruct.Pin = LCD_B1_Pin|LCD_B2_Pin|LCD_B3_Pin|LCD_G4_Pin
                          |LCD_G1_Pin|LCD_G3_Pin|LCD_G0_Pin|LCD_G2_Pin
                          |LCD_R7_Pin|LCD_R5_Pin|LCD_R6_Pin|LCD_R4_Pin
                          |LCD_R3_Pin|LCD_R1_Pin|LCD_R2_Pin;
  GPIO_InitStruct.Mode = GPIO_MODE_AF_PP;
  GPIO_InitStruct.Pull = GPIO_NOPULL;
  GPIO_InitStruct.Speed = GPIO_SPEED_FREQ_LOW;
  GPIO_InitStruct.Alternate = GPIO_AF14_LTDC;
  HAL_GPIO_Init(GPIOJ, &GPIO_InitStruct);

  /*Configure GPIO pin : OTG_FS_VBUS_Pin */
  GPIO_InitStruct.Pin = OTG_FS_VBUS_Pin;
  GPIO_InitStruct.Mode = GPIO_MODE_INPUT;
  GPIO_InitStruct.Pull = GPIO_NOPULL;
  HAL_GPIO_Init(OTG_FS_VBUS_GPIO_Port, &GPIO_InitStruct);

  /*Configure GPIO pin : Audio_INT_Pin */
  GPIO_InitStruct.Pin = Audio_INT_Pin;
  GPIO_InitStruct.Mode = GPIO_MODE_EVT_RISING;
  GPIO_InitStruct.Pull = GPIO_NOPULL;
  HAL_GPIO_Init(Audio_INT_GPIO_Port, &GPIO_InitStruct);

  /*Configure GPIO pins : FMC_D2_Pin FMC_D3_Pin FMC_D1_Pin FMC_D15_Pin
                           FMC_D0_Pin FMC_D14_Pin FMC_D13_Pin */
  GPIO_InitStruct.Pin = FMC_D2_Pin|FMC_D3_Pin|FMC_D1_Pin|FMC_D15_Pin
                          |FMC_D0_Pin|FMC_D14_Pin|FMC_D13_Pin;
  GPIO_InitStruct.Mode = GPIO_MODE_AF_PP;
  GPIO_InitStruct.Pull = GPIO_NOPULL;
  GPIO_InitStruct.Speed = GPIO_SPEED_FREQ_VERY_HIGH;
  GPIO_InitStruct.Alternate = GPIO_AF12_FMC;
  HAL_GPIO_Init(GPIOD, &GPIO_InitStruct);

  /*Configure GPIO pins : OTG_FS_P_Pin OTG_FS_N_Pin OTG_FS_ID_Pin */
  GPIO_InitStruct.Pin = OTG_FS_P_Pin|OTG_FS_N_Pin|OTG_FS_ID_Pin;
  GPIO_InitStruct.Mode = GPIO_MODE_AF_PP;
  GPIO_InitStruct.Pull = GPIO_NOPULL;
  GPIO_InitStruct.Speed = GPIO_SPEED_FREQ_VERY_HIGH;
  GPIO_InitStruct.Alternate = GPIO_AF10_OTG_FS;
  HAL_GPIO_Init(GPIOA, &GPIO_InitStruct);

  /*Configure GPIO pins : SAI2_MCLKA_Pin SAI2_SCKA_Pin SAI2_FSA_Pin SAI2_SDA_Pin */
  GPIO_InitStruct.Pin = SAI2_MCLKA_Pin|SAI2_SCKA_Pin|SAI2_FSA_Pin|SAI2_SDA_Pin;
  GPIO_InitStruct.Mode = GPIO_MODE_AF_PP;
  GPIO_InitStruct.Pull = GPIO_NOPULL;
  GPIO_InitStruct.Speed = GPIO_SPEED_FREQ_LOW;
  GPIO_InitStruct.Alternate = GPIO_AF10_SAI2;
  HAL_GPIO_Init(GPIOI, &GPIO_InitStruct);

  /*Configure GPIO pins : LCD_DE_Pin LCD_B7_Pin LCD_B6_Pin LCD_B5_Pin
                           LCD_G6_Pin LCD_G7_Pin LCD_G5_Pin */
  GPIO_InitStruct.Pin = LCD_DE_Pin|LCD_B7_Pin|LCD_B6_Pin|LCD_B5_Pin
                          |LCD_G6_Pin|LCD_G7_Pin|LCD_G5_Pin;
  GPIO_InitStruct.Mode = GPIO_MODE_AF_PP;
  GPIO_InitStruct.Pull = GPIO_NOPULL;
  GPIO_InitStruct.Speed = GPIO_SPEED_FREQ_LOW;
  GPIO_InitStruct.Alternate = GPIO_AF14_LTDC;
  HAL_GPIO_Init(GPIOK, &GPIO_InitStruct);

  /*Configure GPIO pin : LCD_B4_Pin */
  GPIO_InitStruct.Pin = LCD_B4_Pin;
  GPIO_InitStruct.Mode = GPIO_MODE_AF_PP;
  GPIO_InitStruct.Pull = GPIO_NOPULL;
  GPIO_InitStruct.Speed = GPIO_SPEED_FREQ_LOW;
  GPIO_InitStruct.Alternate = GPIO_AF9_LTDC;
  HAL_GPIO_Init(LCD_B4_GPIO_Port, &GPIO_InitStruct);

  /*Configure GPIO pin : SAI2_SDB_Pin */
  GPIO_InitStruct.Pin = SAI2_SDB_Pin;
  GPIO_InitStruct.Mode = GPIO_MODE_AF_PP;
  GPIO_InitStruct.Pull = GPIO_NOPULL;
  GPIO_InitStruct.Speed = GPIO_SPEED_FREQ_LOW;
  GPIO_InitStruct.Alternate = GPIO_AF10_SAI2;
  HAL_GPIO_Init(SAI2_SDB_GPIO_Port, &GPIO_InitStruct);

  /*Configure GPIO pin : OTG_FS_PowerSwitchOn_Pin */
  GPIO_InitStruct.Pin = OTG_FS_PowerSwitchOn_Pin;
  GPIO_InitStruct.Mode = GPIO_MODE_OUTPUT_PP;
  GPIO_InitStruct.Pull = GPIO_NOPULL;
  GPIO_InitStruct.Speed = GPIO_SPEED_FREQ_LOW;
  HAL_GPIO_Init(OTG_FS_PowerSwitchOn_GPIO_Port, &GPIO_InitStruct);

  /*Configure GPIO pin : DCMI_D5_Pin */
  GPIO_InitStruct.Pin = DCMI_D5_Pin;
  GPIO_InitStruct.Mode = GPIO_MODE_AF_PP;
  GPIO_InitStruct.Pull = GPIO_NOPULL;
  GPIO_InitStruct.Speed = GPIO_SPEED_FREQ_LOW;
  GPIO_InitStruct.Alternate = GPIO_AF13_DCMI;
  HAL_GPIO_Init(DCMI_D5_GPIO_Port, &GPIO_InitStruct);

  /*Configure GPIO pins : ARDUINO_D7_Pin ARDUINO_D8_Pin PI1 LCD_DISP_Pin */
  GPIO_InitStruct.Pin = ARDUINO_D7_Pin|ARDUINO_D8_Pin|GPIO_PIN_1|LCD_DISP_Pin;
  GPIO_InitStruct.Mode = GPIO_MODE_OUTPUT_PP;
  GPIO_InitStruct.Pull = GPIO_NOPULL;
  GPIO_InitStruct.Speed = GPIO_SPEED_FREQ_LOW;
  HAL_GPIO_Init(GPIOI, &GPIO_InitStruct);

  /*Configure GPIO pin : uSD_Detect_Pin */
  GPIO_InitStruct.Pin = uSD_Detect_Pin;
  GPIO_InitStruct.Mode = GPIO_MODE_INPUT;
  GPIO_InitStruct.Pull = GPIO_NOPULL;
  HAL_GPIO_Init(uSD_Detect_GPIO_Port, &GPIO_InitStruct);

  /*Configure GPIO pins : FMC_A0_Pin FMC_A1_Pin FMC_A2_Pin FMC_A3_Pin
                           FMC_A4_Pin FMC_A5_Pin FMC_A6_Pin FMC_A9_Pin
                           FMC_A7_Pin FMC_A8_Pin FMC_SDNRAS_Pin */
  GPIO_InitStruct.Pin = FMC_A0_Pin|FMC_A1_Pin|FMC_A2_Pin|FMC_A3_Pin
                          |FMC_A4_Pin|FMC_A5_Pin|FMC_A6_Pin|FMC_A9_Pin
                          |FMC_A7_Pin|FMC_A8_Pin|FMC_SDNRAS_Pin;
  GPIO_InitStruct.Mode = GPIO_MODE_AF_PP;
  GPIO_InitStruct.Pull = GPIO_NOPULL;
  GPIO_InitStruct.Speed = GPIO_SPEED_FREQ_VERY_HIGH;
  GPIO_InitStruct.Alternate = GPIO_AF12_FMC;
  HAL_GPIO_Init(GPIOF, &GPIO_InitStruct);

  /*Configure GPIO pins : LCD_HSYNC_Pin LCD_VSYNC_Pin LCD_R0_Pin LCD_CLK_Pin */
  GPIO_InitStruct.Pin = LCD_HSYNC_Pin|LCD_VSYNC_Pin|LCD_R0_Pin|LCD_CLK_Pin;
  GPIO_InitStruct.Mode = GPIO_MODE_AF_PP;
  GPIO_InitStruct.Pull = GPIO_NOPULL;
  GPIO_InitStruct.Speed = GPIO_SPEED_FREQ_LOW;
  GPIO_InitStruct.Alternate = GPIO_AF14_LTDC;
  HAL_GPIO_Init(GPIOI, &GPIO_InitStruct);

  /*Configure GPIO pin : LCD_BL_CTRL_Pin */
  GPIO_InitStruct.Pin = LCD_BL_CTRL_Pin;
  GPIO_InitStruct.Mode = GPIO_MODE_OUTPUT_PP;
  GPIO_InitStruct.Pull = GPIO_NOPULL;
  GPIO_InitStruct.Speed = GPIO_SPEED_FREQ_LOW;
  HAL_GPIO_Init(LCD_BL_CTRL_GPIO_Port, &GPIO_InitStruct);

  /*Configure GPIO pin : DCMI_VSYNC_Pin */
  GPIO_InitStruct.Pin = DCMI_VSYNC_Pin;
  GPIO_InitStruct.Mode = GPIO_MODE_AF_PP;
  GPIO_InitStruct.Pull = GPIO_NOPULL;
  GPIO_InitStruct.Speed = GPIO_SPEED_FREQ_LOW;
  GPIO_InitStruct.Alternate = GPIO_AF13_DCMI;
  HAL_GPIO_Init(DCMI_VSYNC_GPIO_Port, &GPIO_InitStruct);

  /*Configure GPIO pin : OTG_FS_OverCurrent_Pin */
  GPIO_InitStruct.Pin = OTG_FS_OverCurrent_Pin;
  GPIO_InitStruct.Mode = GPIO_MODE_INPUT;
  GPIO_InitStruct.Pull = GPIO_NOPULL;
  HAL_GPIO_Init(OTG_FS_OverCurrent_GPIO_Port, &GPIO_InitStruct);

  /*Configure GPIO pin : SDMMC_D0_Pin */
  GPIO_InitStruct.Pin = SDMMC_D0_Pin;
  GPIO_InitStruct.Mode = GPIO_MODE_AF_PP;
  GPIO_InitStruct.Pull = GPIO_NOPULL;
  GPIO_InitStruct.Speed = GPIO_SPEED_FREQ_VERY_HIGH;
  GPIO_InitStruct.Alternate = GPIO_AF12_SDMMC1;
  HAL_GPIO_Init(SDMMC_D0_GPIO_Port, &GPIO_InitStruct);

  /*Configure GPIO pins : TP3_Pin NC2_Pin */
  GPIO_InitStruct.Pin = TP3_Pin|NC2_Pin;
  GPIO_InitStruct.Mode = GPIO_MODE_INPUT;
  GPIO_InitStruct.Pull = GPIO_NOPULL;
  HAL_GPIO_Init(GPIOH, &GPIO_InitStruct);

  /*Configure GPIO pin : DCMI_PWR_EN_Pin */
  GPIO_InitStruct.Pin = DCMI_PWR_EN_Pin;
  GPIO_InitStruct.Mode = GPIO_MODE_OUTPUT_PP;
  GPIO_InitStruct.Pull = GPIO_NOPULL;
  GPIO_InitStruct.Speed = GPIO_SPEED_FREQ_LOW;
  HAL_GPIO_Init(DCMI_PWR_EN_GPIO_Port, &GPIO_InitStruct);

  /*Configure GPIO pins : DCMI_D4_Pin DCMI_D3_Pin DCMI_D0_Pin DCMI_D2_Pin
                           DCMI_D1_Pin */
  GPIO_InitStruct.Pin = DCMI_D4_Pin|DCMI_D3_Pin|DCMI_D0_Pin|DCMI_D2_Pin
                          |DCMI_D1_Pin;
  GPIO_InitStruct.Mode = GPIO_MODE_AF_PP;
  GPIO_InitStruct.Pull = GPIO_NOPULL;
  GPIO_InitStruct.Speed = GPIO_SPEED_FREQ_LOW;
  GPIO_InitStruct.Alternate = GPIO_AF13_DCMI;
  HAL_GPIO_Init(GPIOH, &GPIO_InitStruct);

  /*Configure GPIO pin : ARDUINO_PWM_CS_D5_Pin */
  GPIO_InitStruct.Pin = ARDUINO_PWM_CS_D5_Pin;
  GPIO_InitStruct.Mode = GPIO_MODE_AF_PP;
  GPIO_InitStruct.Pull = GPIO_NOPULL;
  GPIO_InitStruct.Speed = GPIO_SPEED_FREQ_LOW;
  GPIO_InitStruct.Alternate = GPIO_AF2_TIM5;
  HAL_GPIO_Init(ARDUINO_PWM_CS_D5_GPIO_Port, &GPIO_InitStruct);

  /*Configure GPIO pin : ARDUINO_PWM_D10_Pin */
  GPIO_InitStruct.Pin = ARDUINO_PWM_D10_Pin;
  GPIO_InitStruct.Mode = GPIO_MODE_AF_PP;
  GPIO_InitStruct.Pull = GPIO_NOPULL;
  GPIO_InitStruct.Speed = GPIO_SPEED_FREQ_LOW;
  GPIO_InitStruct.Alternate = GPIO_AF1_TIM1;
  HAL_GPIO_Init(ARDUINO_PWM_D10_GPIO_Port, &GPIO_InitStruct);

  /*Configure GPIO pin : LCD_INT_Pin */
  GPIO_InitStruct.Pin = LCD_INT_Pin;
  GPIO_InitStruct.Mode = GPIO_MODE_EVT_RISING;
  GPIO_InitStruct.Pull = GPIO_NOPULL;
  HAL_GPIO_Init(LCD_INT_GPIO_Port, &GPIO_InitStruct);

  /*Configure GPIO pins : ARDUINO_RX_D0_Pin ARDUINO_TX_D1_Pin */
  GPIO_InitStruct.Pin = ARDUINO_RX_D0_Pin|ARDUINO_TX_D1_Pin;
  GPIO_InitStruct.Mode = GPIO_MODE_AF_PP;
  GPIO_InitStruct.Pull = GPIO_NOPULL;
  GPIO_InitStruct.Speed = GPIO_SPEED_FREQ_VERY_HIGH;
  GPIO_InitStruct.Alternate = GPIO_AF8_USART6;
  HAL_GPIO_Init(GPIOC, &GPIO_InitStruct);

  /*Configure GPIO pin : ULPI_NXT_Pin */
  GPIO_InitStruct.Pin = ULPI_NXT_Pin;
  GPIO_InitStruct.Mode = GPIO_MODE_AF_PP;
  GPIO_InitStruct.Pull = GPIO_NOPULL;
  GPIO_InitStruct.Speed = GPIO_SPEED_FREQ_VERY_HIGH;
  GPIO_InitStruct.Alternate = GPIO_AF10_OTG_HS;
  HAL_GPIO_Init(ULPI_NXT_GPIO_Port, &GPIO_InitStruct);

  /*Configure GPIO pins : FMC_SDNME_Pin FMC_SDNE0_Pin */
  GPIO_InitStruct.Pin = FMC_SDNME_Pin|FMC_SDNE0_Pin;
  GPIO_InitStruct.Mode = GPIO_MODE_AF_PP;
  GPIO_InitStruct.Pull = GPIO_NOPULL;
  GPIO_InitStruct.Speed = GPIO_SPEED_FREQ_VERY_HIGH;
  GPIO_InitStruct.Alternate = GPIO_AF12_FMC;
  HAL_GPIO_Init(GPIOH, &GPIO_InitStruct);

  /*Configure GPIO pins : ARDUINO_D4_Pin ARDUINO_D2_Pin EXT_RST_Pin */
  GPIO_InitStruct.Pin = ARDUINO_D4_Pin|ARDUINO_D2_Pin|EXT_RST_Pin;
  GPIO_InitStruct.Mode = GPIO_MODE_OUTPUT_PP;
  GPIO_InitStruct.Pull = GPIO_NOPULL;
  GPIO_InitStruct.Speed = GPIO_SPEED_FREQ_LOW;
  HAL_GPIO_Init(GPIOG, &GPIO_InitStruct);

  /*Configure GPIO pins : ARDUINO_A4_Pin ARDUINO_A5_Pin ARDUINO_A1_Pin ARDUINO_A2_Pin
                           ARDUINO_A3_Pin */
  GPIO_InitStruct.Pin = ARDUINO_A4_Pin|ARDUINO_A5_Pin|ARDUINO_A1_Pin|ARDUINO_A2_Pin
                          |ARDUINO_A3_Pin;
  GPIO_InitStruct.Mode = GPIO_MODE_ANALOG;
  GPIO_InitStruct.Pull = GPIO_NOPULL;
  HAL_GPIO_Init(GPIOF, &GPIO_InitStruct);

  /*Configure GPIO pin : FMC_SDCKE0_Pin */
  GPIO_InitStruct.Pin = FMC_SDCKE0_Pin;
  GPIO_InitStruct.Mode = GPIO_MODE_AF_PP;
  GPIO_InitStruct.Pull = GPIO_NOPULL;
  GPIO_InitStruct.Speed = GPIO_SPEED_FREQ_VERY_HIGH;
  GPIO_InitStruct.Alternate = GPIO_AF12_FMC;
  HAL_GPIO_Init(FMC_SDCKE0_GPIO_Port, &GPIO_InitStruct);

  /*Configure GPIO pins : ULPI_STP_Pin ULPI_DIR_Pin */
  GPIO_InitStruct.Pin = ULPI_STP_Pin|ULPI_DIR_Pin;
  GPIO_InitStruct.Mode = GPIO_MODE_AF_PP;
  GPIO_InitStruct.Pull = GPIO_NOPULL;
  GPIO_InitStruct.Speed = GPIO_SPEED_FREQ_VERY_HIGH;
  GPIO_InitStruct.Alternate = GPIO_AF10_OTG_HS;
  HAL_GPIO_Init(GPIOC, &GPIO_InitStruct);

  /*Configure GPIO pins : RMII_MDC_Pin RMII_RXD0_Pin RMII_RXD1_Pin */
  GPIO_InitStruct.Pin = RMII_MDC_Pin|RMII_RXD0_Pin|RMII_RXD1_Pin;
  GPIO_InitStruct.Mode = GPIO_MODE_AF_PP;
  GPIO_InitStruct.Pull = GPIO_NOPULL;
  GPIO_InitStruct.Speed = GPIO_SPEED_FREQ_VERY_HIGH;
  GPIO_InitStruct.Alternate = GPIO_AF11_ETH;
  HAL_GPIO_Init(GPIOC, &GPIO_InitStruct);

  /*Configure GPIO pin : PB2 */
  GPIO_InitStruct.Pin = GPIO_PIN_2;
  GPIO_InitStruct.Mode = GPIO_MODE_AF_PP;
  GPIO_InitStruct.Pull = GPIO_NOPULL;
  GPIO_InitStruct.Speed = GPIO_SPEED_FREQ_VERY_HIGH;
  GPIO_InitStruct.Alternate = GPIO_AF9_QUADSPI;
  HAL_GPIO_Init(GPIOB, &GPIO_InitStruct);

  /*Configure GPIO pins : QSPI_D1_Pin QSPI_D3_Pin QSPI_D0_Pin */
  GPIO_InitStruct.Pin = QSPI_D1_Pin|QSPI_D3_Pin|QSPI_D0_Pin;
  GPIO_InitStruct.Mode = GPIO_MODE_AF_PP;
  GPIO_InitStruct.Pull = GPIO_NOPULL;
  GPIO_InitStruct.Speed = GPIO_SPEED_FREQ_VERY_HIGH;
  GPIO_InitStruct.Alternate = GPIO_AF9_QUADSPI;
  HAL_GPIO_Init(GPIOD, &GPIO_InitStruct);

  /*Configure GPIO pin : RMII_RXER_Pin */
  GPIO_InitStruct.Pin = RMII_RXER_Pin;
  GPIO_InitStruct.Mode = GPIO_MODE_INPUT;
  GPIO_InitStruct.Pull = GPIO_NOPULL;
  HAL_GPIO_Init(RMII_RXER_GPIO_Port, &GPIO_InitStruct);

  /*Configure GPIO pins : RMII_REF_CLK_Pin RMII_MDIO_Pin RMII_CRS_DV_Pin */
  GPIO_InitStruct.Pin = RMII_REF_CLK_Pin|RMII_MDIO_Pin|RMII_CRS_DV_Pin;
  GPIO_InitStruct.Mode = GPIO_MODE_AF_PP;
  GPIO_InitStruct.Pull = GPIO_NOPULL;
  GPIO_InitStruct.Speed = GPIO_SPEED_FREQ_VERY_HIGH;
  GPIO_InitStruct.Alternate = GPIO_AF11_ETH;
  HAL_GPIO_Init(GPIOA, &GPIO_InitStruct);

  /*Configure GPIO pin : ARDUINO_A0_Pin */
  GPIO_InitStruct.Pin = ARDUINO_A0_Pin;
  GPIO_InitStruct.Mode = GPIO_MODE_ANALOG;
  GPIO_InitStruct.Pull = GPIO_NOPULL;
  HAL_GPIO_Init(ARDUINO_A0_GPIO_Port, &GPIO_InitStruct);

  /*Configure GPIO pins : DCMI_HSYNC_Pin PA6 */
  GPIO_InitStruct.Pin = DCMI_HSYNC_Pin|GPIO_PIN_6;
  GPIO_InitStruct.Mode = GPIO_MODE_AF_PP;
  GPIO_InitStruct.Pull = GPIO_NOPULL;
  GPIO_InitStruct.Speed = GPIO_SPEED_FREQ_LOW;
  GPIO_InitStruct.Alternate = GPIO_AF13_DCMI;
  HAL_GPIO_Init(GPIOA, &GPIO_InitStruct);

  /*Configure GPIO pins : LCD_SCL_Pin LCD_SDA_Pin */
  GPIO_InitStruct.Pin = LCD_SCL_Pin|LCD_SDA_Pin;
  GPIO_InitStruct.Mode = GPIO_MODE_AF_OD;
  GPIO_InitStruct.Pull = GPIO_NOPULL;
  GPIO_InitStruct.Speed = GPIO_SPEED_FREQ_VERY_HIGH;
  GPIO_InitStruct.Alternate = GPIO_AF4_I2C3;
  HAL_GPIO_Init(GPIOH, &GPIO_InitStruct);

  /*Configure GPIO pins : ULPI_CLK_Pin ULPI_D0_Pin */
  GPIO_InitStruct.Pin = ULPI_CLK_Pin|ULPI_D0_Pin;
  GPIO_InitStruct.Mode = GPIO_MODE_AF_PP;
  GPIO_InitStruct.Pull = GPIO_NOPULL;
  GPIO_InitStruct.Speed = GPIO_SPEED_FREQ_VERY_HIGH;
  GPIO_InitStruct.Alternate = GPIO_AF10_OTG_HS;
  HAL_GPIO_Init(GPIOA, &GPIO_InitStruct);

  /*Configure GPIO pin : ARDUINO_PWM_D6_Pin */
  GPIO_InitStruct.Pin = ARDUINO_PWM_D6_Pin;
  GPIO_InitStruct.Mode = GPIO_MODE_AF_PP;
  GPIO_InitStruct.Pull = GPIO_NOPULL;
  GPIO_InitStruct.Speed = GPIO_SPEED_FREQ_LOW;
  GPIO_InitStruct.Alternate = GPIO_AF9_TIM12;
  HAL_GPIO_Init(ARDUINO_PWM_D6_GPIO_Port, &GPIO_InitStruct);

  /*Configure GPIO pins : ARDUINO_MISO_D12_Pin ARDUINO_MOSI_PWM_D11_Pin */
  GPIO_InitStruct.Pin = ARDUINO_MISO_D12_Pin|ARDUINO_MOSI_PWM_D11_Pin;
  GPIO_InitStruct.Mode = GPIO_MODE_AF_PP;
  GPIO_InitStruct.Pull = GPIO_NOPULL;
  GPIO_InitStruct.Speed = GPIO_SPEED_FREQ_LOW;
  GPIO_InitStruct.Alternate = GPIO_AF5_SPI2;
  HAL_GPIO_Init(GPIOB, &GPIO_InitStruct);

}

void Error_Handler(void)
{
  __disable_irq();
  while (1)
  {
  }
}
